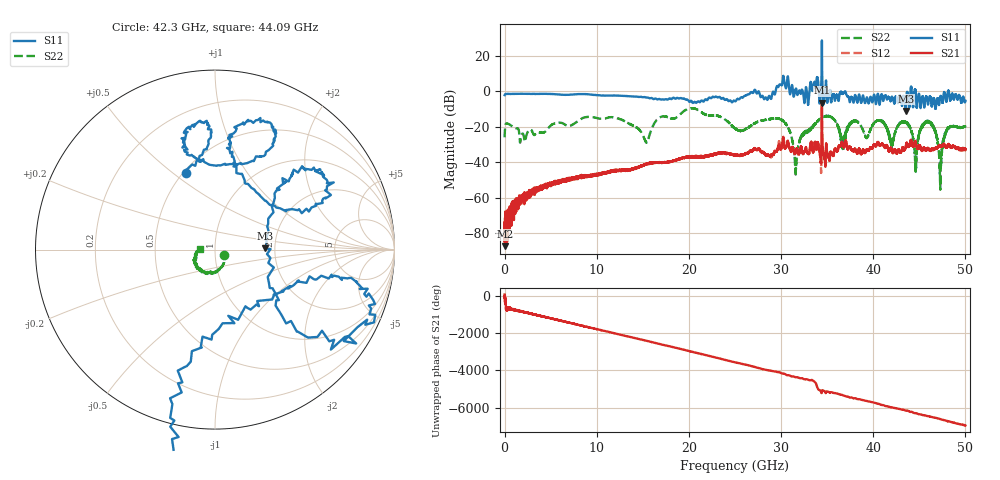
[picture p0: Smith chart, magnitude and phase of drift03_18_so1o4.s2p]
!Created with skrf (http://scikit-rf.org).
# Hz S RI R 50.0
!freq ReS11 ImS11 ReS21 ImS21 ReS12 ImS12 ReS22 ImS22
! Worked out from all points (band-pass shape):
!   10000 points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, 5.3 MHz to 50 GHz, reference 50 ohm
!   highest |S21| = -6.33 dB at 34.43 GHz (marker M1); lowest = -87.2 dB at 60.3 MHz (marker M2)
!   |S21| within 3 dB of the highest: 34.42758 GHz to 34.43524 GHz (7.661 MHz wide, 0.0223 % of centre)
!   lowest |S11| = -11.1 dB at 43.52 GHz (marker M3), VSWR 1.78, Z = 88.9 + j1.24 ohm
!   |S11| at or under -10 dB: 43.50168 GHz to 43.54145 GHz (39.76 MHz wide, 0.0914 % of centre)
!   |S22| runs from -55.3 to -9.4 dB; largest |S21 - S12| = 0.14
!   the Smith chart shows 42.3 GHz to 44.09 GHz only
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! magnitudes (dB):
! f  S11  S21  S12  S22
! 5.3 MHz  -2.1  -74.9  -85.8  -25.8
! 60.3 MHz  -1.6  -87.2  -83.7  -20.0
! 2.27 GHz  -1.3  -59.6  -59.1  -27.3
! 8.34 GHz  -1.5  -48.4  -47.9  -15.3
! 15.39 GHz  -3.5  -40.7  -41.0  -28.6
! 16.67 GHz  -4.4  -40.1  -40.0  -15.3
! 20.46 GHz  -6.5  -36.9  -36.8  -9.5
! 25.01 GHz  -5.5  -35.7  -36.1  -20.9
! 29.96 GHz  3.9  -32.8  -32.2  -15.9
! 31.61 GHz  1.6  -33.6  -33.5  -43.9
! 33.34 GHz  2.6  -30.1  -30.5  -20.6
! 34.43 GHz  28.7  -6.3  -8.3  -14.6
! 36.71 GHz  -1.3  -30.3  -30.2  -28.5
! 37.95 GHz  -3.8  -32.9  -32.9  -16.2
! 41.67 GHz  -3.2  -33.3  -33.3  -23.9
! 43.52 GHz  -11.1  -31.4  -31.3  -17.4
! 44.6 GHz  -0.9  -28.7  -28.9  -42.6
! 45.27 GHz  -3.9  -33.3  -33.3  -19.9
! 46.27 GHz  -5.2  -32.7  -32.5  -18.2
! 47.29 GHz  -2.9  -30.6  -30.7  -50.4
! 48.1 GHz  -0.2  -30.5  -30.1  -20.4
! 50 GHz  -5.3  -32.4  -32.7  -19.7
